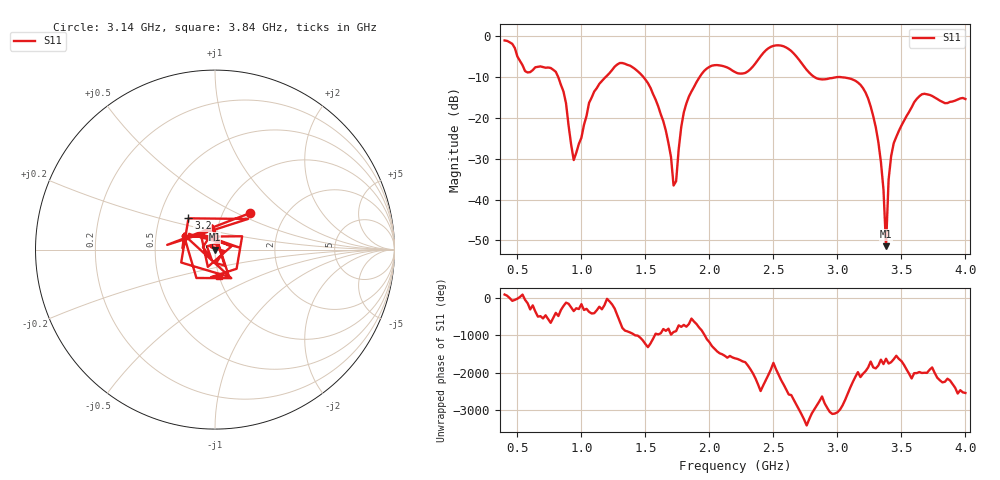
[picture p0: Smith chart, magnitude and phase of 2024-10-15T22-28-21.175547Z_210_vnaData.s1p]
! Created with skrf (http://scikit-rf.org).
# Hz S RI R 50.0
!freq ReS11 ImS11
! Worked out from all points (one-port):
!   181 points, 400 MHz to 4 GHz, reference 50 ohm
!   lowest |S11| = -51.4 dB at 3.38 GHz (marker M1), VSWR 1.01, Z = 49.7 + j0.0366 ohm
!   |S11| at or under -10 dB: 817 MHz to 1.193 GHz (376.2 MHz wide, 37.4 % of centre); 1.481 GHz to 1.926 GHz (445.1 MHz wide, 26.1 % of centre); 2.815 GHz to end of sweep
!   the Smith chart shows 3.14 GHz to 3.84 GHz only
!   S11 on the Smith chart (normalised r, x): 3.14 GHz: 1.33, +0.59; 3.2 GHz: 0.70, +0.26; 3.84 GHz: 1.00, -0.30
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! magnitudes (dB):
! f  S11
! 400 MHz  -1.2
! 860 MHz  -13.7
! 940 MHz  -30.4
! 1.1 GHz  -13.7
! 1.3 GHz  -6.7
! 1.54 GHz  -12.8
! 1.66 GHz  -23.3
! 1.72 GHz  -36.6
! 1.74 GHz  -35.5
! 1.76 GHz  -27.8
! 1.82 GHz  -16.6
! 1.94 GHz  -9.4
! 2.2 GHz  -8.9
! 2.5 GHz  -2.5
! 2.66 GHz  -4.4
! 2.84 GHz  -10.5
! 3.1 GHz  -10.5
! 3.14 GHz  -11.0
! 3.2 GHz  -12.8
! 3.32 GHz  -26.0
! 3.36 GHz  -37.6
! 3.38 GHz  -51.4
! 3.4 GHz  -35.2
! 3.42 GHz  -29.4
! 3.56 GHz  -18.6
! 3.66 GHz  -14.3
! 3.84 GHz  -16.5
! 4 GHz  -15.5
